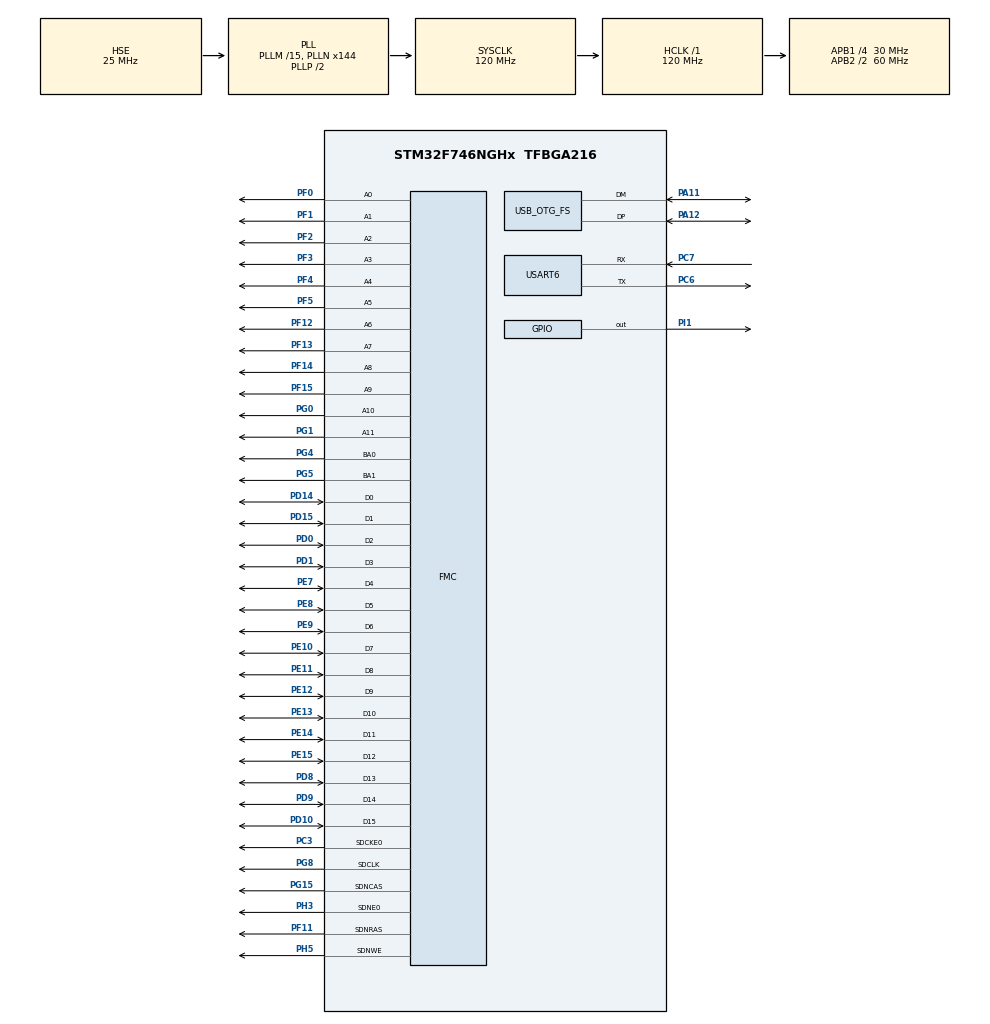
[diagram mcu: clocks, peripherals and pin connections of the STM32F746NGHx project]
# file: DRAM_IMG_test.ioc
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FMC.CASLatency1=FMC_SDRAM_CAS_LATENCY_2
FMC.ExitSelfRefreshDelay1=8
FMC.LoadToActiveDelay1=2
FMC.RCDDelay1=2
FMC.RPDelay1=2
FMC.RPDelay2=2
FMC.ReadBurst1=FMC_SDRAM_RBURST_ENABLE
FMC.ReadBurst2=FMC_SDRAM_RBURST_ENABLE
FMC.ReadPipeDelay1=FMC_SDRAM_RPIPE_DELAY_1
FMC.ReadPipeDelay2=FMC_SDRAM_RPIPE_DELAY_1
FMC.RowCycleDelay1=7
FMC.RowCycleDelay2=7
FMC.SDClockPeriod1=FMC_SDRAM_CLOCK_PERIOD_2
FMC.SDClockPeriod2=FMC_SDRAM_CLOCK_PERIOD_2
FMC.SelfRefreshTime1=6
FMC.WriteRecoveryTime1=12
FREERTOS.Tasks01=defaultTask,24,256,StartDefaultTask,Default,NULL,Dynamic,NULL,NULL
FREERTOS.configTOTAL_HEAP_SIZE=50*1024
FREERTOS.configUSE_NEWLIB_REENTRANT=1
Mcu.Family=STM32F7
Mcu.Name=STM32F746NGHx
Mcu.Package=TFBGA216
NVIC.OTG_FS_IRQn=true\:5\:0\:false\:false\:true\:true\:false\:true\:true
NVIC.PriorityGroup=NVIC_PRIORITYGROUP_4
NVIC.USART6_IRQn=true\:5\:0\:false\:false\:true\:true\:true\:true\:true
PA11.Mode=Device_Only
PA11.Signal=USB_OTG_FS_DM
PA12.Mode=Device_Only
PA12.Signal=USB_OTG_FS_DP
PA13.Mode=Serial_Wire
PA13.Signal=SYS_JTMS-SWDIO
PA14.Mode=Serial_Wire
PA14.Signal=SYS_JTCK-SWCLK
PC2.Signal=USB_OTG_HS_ULPI_DIR
PC3.Mode=SdramChipSelect1_1
PC3.Signal=FMC_SDCKE0
PC6.Mode=Asynchronous
PC6.Signal=USART6_TX
PC7.Mode=Asynchronous
PC7.Signal=USART6_RX
PD0.Signal=FMC_D2_DA2
PD1.Signal=FMC_D3_DA3
PD10.Signal=FMC_D15_DA15
PD14.Signal=FMC_D0_DA0
PD15.Signal=FMC_D1_DA1
PD8.Signal=FMC_D13_DA13
PD9.Signal=FMC_D14_DA14
PE10.Signal=FMC_D7_DA7
PE11.Signal=FMC_D8_DA8
PE12.Signal=FMC_D9_DA9
PE13.Signal=FMC_D10_DA10
PE14.Signal=FMC_D11_DA11
PE15.Signal=FMC_D12_DA12
PE7.Signal=FMC_D4_DA4
PE8.Signal=FMC_D5_DA5
PE9.Signal=FMC_D6_DA6
PF0.Signal=FMC_A0
PF1.Signal=FMC_A1
PF11.Signal=FMC_SDNRAS
PF12.Signal=FMC_A6
PF13.Signal=FMC_A7
PF14.Signal=FMC_A8
PF15.Signal=FMC_A9
PF2.Signal=FMC_A2
PF3.Signal=FMC_A3
PF4.Signal=FMC_A4
PF5.Signal=FMC_A5
PG0.Signal=FMC_A10
PG1.Signal=FMC_A11
PG15.Signal=FMC_SDNCAS
PG4.Signal=FMC_A14_BA0
PG5.Signal=FMC_A15_BA1
PG8.Signal=FMC_SDCLK
PH0/OSC_IN.Mode=HSE-External-Oscillator
PH0/OSC_IN.Signal=RCC_OSC_IN
PH1/OSC_OUT.Mode=HSE-External-Oscillator
PH1/OSC_OUT.Signal=RCC_OSC_OUT
PH3.Mode=SdramChipSelect1_1
PH3.Signal=FMC_SDNE0
PH5.Signal=FMC_SDNWE
PI1.Signal=GPIO_Output
ProjectManager.HeapSize=0x200
ProjectManager.StackSize=0x400
ProjectManager.TargetToolchain=STM32CubeIDE
RCC.AHBFreq_Value=120000000
RCC.APB1CLKDivider=RCC_HCLK_DIV4
RCC.APB1Freq_Value=30000000
RCC.APB1TimFreq_Value=60000000
RCC.APB2CLKDivider=RCC_HCLK_DIV2
RCC.APB2Freq_Value=60000000
RCC.APB2TimFreq_Value=120000000
RCC.CortexFreq_Value=120000000
RCC.HCLKFreq_Value=120000000
RCC.HSE_VALUE=25000000
RCC.HSI_VALUE=16000000
RCC.LSE_VALUE=32768
RCC.PLLM=15
RCC.PLLN=144
RCC.PLLQ=5
RCC.SYSCLKFreq_VALUE=120000000
RCC.SYSCLKSource=RCC_SYSCLKSOURCE_PLLCLK
RCC.USBFreq_Value=48000000
RCC.VCOOutputFreq_Value=240000000
SH.FMC_A0.0=FMC_A0,12b-sda1
SH.FMC_A1.0=FMC_A1,12b-sda1
SH.FMC_A10.0=FMC_A10,12b-sda1
SH.FMC_A11.0=FMC_A11,12b-sda1
SH.FMC_A14_BA0.0=FMC_BA0,FourSdramBanks1
SH.FMC_A15_BA1.0=FMC_BA1,FourSdramBanks1
SH.FMC_A2.0=FMC_A2,12b-sda1
SH.FMC_A3.0=FMC_A3,12b-sda1
SH.FMC_A4.0=FMC_A4,12b-sda1
SH.FMC_A5.0=FMC_A5,12b-sda1
SH.FMC_A6.0=FMC_A6,12b-sda1
SH.FMC_A7.0=FMC_A7,12b-sda1
SH.FMC_A8.0=FMC_A8,12b-sda1
SH.FMC_A9.0=FMC_A9,12b-sda1
SH.FMC_D0_DA0.0=FMC_D0,sd-16b-d1
SH.FMC_D10_DA10.0=FMC_D10,sd-16b-d1
SH.FMC_D11_DA11.0=FMC_D11,sd-16b-d1
SH.FMC_D12_DA12.0=FMC_D12,sd-16b-d1
SH.FMC_D13_DA13.0=FMC_D13,sd-16b-d1
SH.FMC_D14_DA14.0=FMC_D14,sd-16b-d1
SH.FMC_D15_DA15.0=FMC_D15,sd-16b-d1
SH.FMC_D1_DA1.0=FMC_D1,sd-16b-d1
SH.FMC_D2_DA2.0=FMC_D2,sd-16b-d1
SH.FMC_D3_DA3.0=FMC_D3,sd-16b-d1
SH.FMC_D4_DA4.0=FMC_D4,sd-16b-d1
SH.FMC_D5_DA5.0=FMC_D5,sd-16b-d1
SH.FMC_D6_DA6.0=FMC_D6,sd-16b-d1
SH.FMC_D7_DA7.0=FMC_D7,sd-16b-d1
SH.FMC_D8_DA8.0=FMC_D8,sd-16b-d1
SH.FMC_D9_DA9.0=FMC_D9,sd-16b-d1
SH.FMC_SDCLK.0=FMC_SDCLK,12b-sda1
SH.FMC_SDNCAS.0=FMC_SDNCAS,12b-sda1
SH.FMC_SDNRAS.0=FMC_SDNRAS,12b-sda1
SH.FMC_SDNWE.0=FMC_SDNWE,12b-sda1
TIM3.Prescaler=9999
USART6.VirtualMode-Asynchronous=VM_ASYNC
USB_DEVICE.CLASS_NAME_FS=CDC
USB_DEVICE.VirtualMode-CDC_FS=Cdc
USB_DEVICE.VirtualModeFS=Cdc_FS
USB_OTG_FS.VirtualMode=Device_Only
VP_CRC_VS_CRC.Mode=CRC_Activate
VP_FREERTOS_VS_CMSIS_V2.Mode=CMSIS_V2
VP_TIM3_VS_ClockSourceINT.Mode=Internal
VP_USB_DEVICE_VS_USB_DEVICE_CDC_FS.Mode=CDC_FS
board=custom

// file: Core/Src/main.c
/* USER CODE BEGIN Header */
/**
  ******************************************************************************
  * @file           : main.c
  * @brief          : Main program body
  ******************************************************************************
  * @attention
  *
  * Copyright (c) 2025 STMicroelectronics.
  * All rights reserved.
  *
  * This software is licensed under terms that can be found in the LICENSE file
  * in the root directory of this software component.
  * If no LICENSE file comes with this software, it is provided AS-IS.
  *
  ******************************************************************************
  */
/* USER CODE END Header */
#include "main.h"
#include "cmsis_os.h"
#include "usb_device.h"

/* USER CODE BEGIN Includes */
#include <string.h>
//#include "usb_receive.h"
#include "stm32746g_discovery_sdram.h"
#include "debug_logger.h"
#include "queuex.h"
#include "counter_timer.h"

/*****Test*****/
#include "test_usb_transfer_file.h"

/*************/

/* USER CODE END Includes */

CRC_HandleTypeDef hcrc;

TIM_HandleTypeDef htim3;

SDRAM_HandleTypeDef hsdram1;

/* Definitions for defaultTask */
osThreadId_t defaultTaskHandle;
const osThreadAttr_t defaultTask_attributes = {
  .name = "defaultTask",
  .stack_size = 256 * 4,
  .priority = (osPriority_t) osPriorityNormal,
};
/* USER CODE BEGIN PV */
//#define SDRAM_ADD 0xC0000000

/* USER CODE END PV */

void SystemClock_Config(void);
static void MX_GPIO_Init(void);
static void MX_FMC_Init(void);
static void MX_TIM3_Init(void);
static void MX_USART6_UART_Init(void);
static void MX_CRC_Init(void);
void StartDefaultTask(void *argument);

/* USER CODE BEGIN PFP */

/**************Task*******************/
void TaskBlinkLED(void *pvParameters);
void Debuglogging(void *pvParameters);

/* USER CODE END PFP */

/* USER CODE BEGIN 0 */
__attribute__((section(".sdram"))) uint8_t file_buffer[8*1024*1024];
uint8_t command_buffer[64];
Queuex_t usb_rx_cmd_queue;
Queuex_t usb_rx_file_queue;

/* USER CODE END 0 */

int main(void)
{

  /* MCU Configuration--------------------------------------------------------*/

  /* Reset of all peripherals, Initializes the Flash interface and the Systick. */
  HAL_Init();

  /* Configure the system clock */
  SystemClock_Config();

  /* Initialize all configured peripherals */
  MX_GPIO_Init();
  MX_FMC_Init();
  MX_TIM3_Init();
  MX_USART6_UART_Init();
  MX_CRC_Init();
  /* USER CODE BEGIN 2 */

  Queue_Init(&usb_rx_cmd_queue, command_buffer, sizeof(command_buffer));
  Queue_Init(&usb_rx_file_queue, file_buffer, sizeof(file_buffer));

  MX_USB_DEVICE_Init();

  HAL_TIM_Base_Start(&htim3);
//  command_buffer[0] = 0;
  /* USER CODE END 2 */

  /* Init scheduler */
  osKernelInitialize();

  /* Create the thread(s) */
  /* creation of defaultTask */
//  defaultTaskHandle = osThreadNew(StartDefaultTask, NULL, &defaultTask_attributes);

  /* USER CODE BEGIN RTOS_THREADS */
  /* add threads, ... */

  //Init
//  Chunk_Init();
//  File_Init();

  xTaskCreate(TaskBlinkLED, "BlinkTask", 256, NULL, osPriorityNormal + 1, NULL);
  xTaskCreate(Task_Command, "Command", 512, NULL, 4, &hTaskCommand);
//  Transmit_Init(0);
  xTaskCreate(TaskSendImage, "TaskSendImage", 1024, NULL, 2, &hTaskSend);
  xTaskCreate(Task_Receive, "Receive", 1024*5, NULL, 3, &hTaskReceive);   //có thể  giảm

//  xTaskCreate(Debuglogging, "Debuglogging", 128, NULL, osPriorityIdle + 1, NULL);

  /* USER CODE END RTOS_THREADS */

  /* Start scheduler */
  osKernelStart();

  /* We should never get here as control is now taken by the scheduler */

  /* Infinite loop */
  while (1)
  {

  }
}

void SystemClock_Config(void)
{
  RCC_OscInitTypeDef RCC_OscInitStruct = {0};
  RCC_ClkInitTypeDef RCC_ClkInitStruct = {0};

  /** Configure the main internal regulator output voltage
  */
  __HAL_RCC_PWR_CLK_ENABLE();
  __HAL_PWR_VOLTAGESCALING_CONFIG(PWR_REGULATOR_VOLTAGE_SCALE3);

  /** Initializes the RCC Oscillators according to the specified parameters
  * in the RCC_OscInitTypeDef structure.
  */
  RCC_OscInitStruct.OscillatorType = RCC_OSCILLATORTYPE_HSE;
  RCC_OscInitStruct.HSEState = RCC_HSE_ON;
  RCC_OscInitStruct.PLL.PLLState = RCC_PLL_ON;
  RCC_OscInitStruct.PLL.PLLSource = RCC_PLLSOURCE_HSE;
  RCC_OscInitStruct.PLL.PLLM = 15;
  RCC_OscInitStruct.PLL.PLLN = 144;
  RCC_OscInitStruct.PLL.PLLP = RCC_PLLP_DIV2;
  RCC_OscInitStruct.PLL.PLLQ = 5;
  if (HAL_RCC_OscConfig(&RCC_OscInitStruct) != HAL_OK)
  {
    Error_Handler();
  }

  /** Initializes the CPU, AHB and APB buses clocks
  */
  RCC_ClkInitStruct.ClockType = RCC_CLOCKTYPE_HCLK|RCC_CLOCKTYPE_SYSCLK
                              |RCC_CLOCKTYPE_PCLK1|RCC_CLOCKTYPE_PCLK2;
  RCC_ClkInitStruct.SYSCLKSource = RCC_SYSCLKSOURCE_PLLCLK;
  RCC_ClkInitStruct.AHBCLKDivider = RCC_SYSCLK_DIV1;
  RCC_ClkInitStruct.APB1CLKDivider = RCC_HCLK_DIV4;
  RCC_ClkInitStruct.APB2CLKDivider = RCC_HCLK_DIV2;

  if (HAL_RCC_ClockConfig(&RCC_ClkInitStruct, FLASH_LATENCY_3) != HAL_OK)
  {
    Error_Handler();
  }
}

static void MX_CRC_Init(void)
{

  hcrc.Instance = CRC;
  hcrc.Init.DefaultPolynomialUse = DEFAULT_POLYNOMIAL_ENABLE;
  hcrc.Init.DefaultInitValueUse = DEFAULT_INIT_VALUE_ENABLE;
  hcrc.Init.InputDataInversionMode = CRC_INPUTDATA_INVERSION_NONE;
  hcrc.Init.OutputDataInversionMode = CRC_OUTPUTDATA_INVERSION_DISABLE;
  hcrc.InputDataFormat = CRC_INPUTDATA_FORMAT_BYTES;
  if (HAL_CRC_Init(&hcrc) != HAL_OK)
  {
    Error_Handler();
  }

}

static void MX_TIM3_Init(void)
{

  TIM_ClockConfigTypeDef sClockSourceConfig = {0};
  TIM_MasterConfigTypeDef sMasterConfig = {0};

  htim3.Instance = TIM3;
  htim3.Init.Prescaler = 9999;
  htim3.Init.CounterMode = TIM_COUNTERMODE_UP;
  htim3.Init.Period = 65535;
  htim3.Init.ClockDivision = TIM_CLOCKDIVISION_DIV1;
  htim3.Init.AutoReloadPreload = TIM_AUTORELOAD_PRELOAD_DISABLE;
  if (HAL_TIM_Base_Init(&htim3) != HAL_OK)
  {
    Error_Handler();
  }
  sClockSourceConfig.ClockSource = TIM_CLOCKSOURCE_INTERNAL;
  if (HAL_TIM_ConfigClockSource(&htim3, &sClockSourceConfig) != HAL_OK)
  {
    Error_Handler();
  }
  sMasterConfig.MasterOutputTrigger = TIM_TRGO_RESET;
  sMasterConfig.MasterSlaveMode = TIM_MASTERSLAVEMODE_DISABLE;
  if (HAL_TIMEx_MasterConfigSynchronization(&htim3, &sMasterConfig) != HAL_OK)
  {
    Error_Handler();
  }

}

static void MX_USART6_UART_Init(void)
{

  LL_USART_InitTypeDef USART_InitStruct = {0};

  LL_GPIO_InitTypeDef GPIO_InitStruct = {0};
  RCC_PeriphCLKInitTypeDef PeriphClkInitStruct = {0};

  /** Initializes the peripherals clock
  */
  PeriphClkInitStruct.PeriphClockSelection = RCC_PERIPHCLK_USART6;
  PeriphClkInitStruct.Usart6ClockSelection = RCC_USART6CLKSOURCE_PCLK2;
  if (HAL_RCCEx_PeriphCLKConfig(&PeriphClkInitStruct) != HAL_OK)
  {
    Error_Handler();
  }

  /* Peripheral clock enable */
  LL_APB2_GRP1_EnableClock(LL_APB2_GRP1_PERIPH_USART6);

  LL_AHB1_GRP1_EnableClock(LL_AHB1_GRP1_PERIPH_GPIOC);
  /**USART6 GPIO Configuration
  PC7   ------> USART6_RX
  PC6   ------> USART6_TX
  */
  GPIO_InitStruct.Pin = LL_GPIO_PIN_7;
  GPIO_InitStruct.Mode = LL_GPIO_MODE_ALTERNATE;
  GPIO_InitStruct.Speed = LL_GPIO_SPEED_FREQ_VERY_HIGH;
  GPIO_InitStruct.OutputType = LL_GPIO_OUTPUT_PUSHPULL;
  GPIO_InitStruct.Pull = LL_GPIO_PULL_NO;
  GPIO_InitStruct.Alternate = LL_GPIO_AF_8;
  LL_GPIO_Init(GPIOC, &GPIO_InitStruct);

  GPIO_InitStruct.Pin = LL_GPIO_PIN_6;
  GPIO_InitStruct.Mode = LL_GPIO_MODE_ALTERNATE;
  GPIO_InitStruct.Speed = LL_GPIO_SPEED_FREQ_VERY_HIGH;
  GPIO_InitStruct.OutputType = LL_GPIO_OUTPUT_PUSHPULL;
  GPIO_InitStruct.Pull = LL_GPIO_PULL_NO;
  GPIO_InitStruct.Alternate = LL_GPIO_AF_8;
  LL_GPIO_Init(GPIOC, &GPIO_InitStruct);

  /* USART6 interrupt Init */
  NVIC_SetPriority(USART6_IRQn, NVIC_EncodePriority(NVIC_GetPriorityGrouping(),5, 0));
  NVIC_EnableIRQ(USART6_IRQn);

  USART_InitStruct.BaudRate = 115200;
  USART_InitStruct.DataWidth = LL_USART_DATAWIDTH_8B;
  USART_InitStruct.StopBits = LL_USART_STOPBITS_1;
  USART_InitStruct.Parity = LL_USART_PARITY_NONE;
  USART_InitStruct.TransferDirection = LL_USART_DIRECTION_TX_RX;
  USART_InitStruct.HardwareFlowControl = LL_USART_HWCONTROL_NONE;
  USART_InitStruct.OverSampling = LL_USART_OVERSAMPLING_16;
  LL_USART_Init(USART6, &USART_InitStruct);
  LL_USART_ConfigAsyncMode(USART6);
  LL_USART_Enable(USART6);

}

/* FMC initialization function */
static void MX_FMC_Init(void)
{

  /* USER CODE BEGIN FMC_Init 0 */
	const uint32_t RefreshCount = 0x0603; // tại 100MHz
  /* USER CODE END FMC_Init 0 */

  FMC_SDRAM_TimingTypeDef SdramTiming = {0};

  /** Perform the SDRAM1 memory initialization sequence
  */
  hsdram1.Instance = FMC_SDRAM_DEVICE;
  /* hsdram1.Init */
  hsdram1.Init.SDBank = FMC_SDRAM_BANK1;
  hsdram1.Init.ColumnBitsNumber = FMC_SDRAM_COLUMN_BITS_NUM_8;
  hsdram1.Init.RowBitsNumber = FMC_SDRAM_ROW_BITS_NUM_12;
  hsdram1.Init.MemoryDataWidth = FMC_SDRAM_MEM_BUS_WIDTH_16;
  hsdram1.Init.InternalBankNumber = FMC_SDRAM_INTERN_BANKS_NUM_4;
  hsdram1.Init.CASLatency = FMC_SDRAM_CAS_LATENCY_2;
  hsdram1.Init.WriteProtection = FMC_SDRAM_WRITE_PROTECTION_DISABLE;
  hsdram1.Init.SDClockPeriod = FMC_SDRAM_CLOCK_PERIOD_2;
  hsdram1.Init.ReadBurst = FMC_SDRAM_RBURST_ENABLE;
  hsdram1.Init.ReadPipeDelay = FMC_SDRAM_RPIPE_DELAY_1;
  /* SdramTiming */
  SdramTiming.LoadToActiveDelay = 2;
  SdramTiming.ExitSelfRefreshDelay = 8;
  SdramTiming.SelfRefreshTime = 6;
  SdramTiming.RowCycleDelay = 7;
  SdramTiming.WriteRecoveryTime = 12;
  SdramTiming.RPDelay = 2;
  SdramTiming.RCDDelay = 2;

  if (HAL_SDRAM_Init(&hsdram1, &SdramTiming) != HAL_OK)
  {
    Error_Handler( );
  }

  /* USER CODE BEGIN FMC_Init 2 */

  FMC_SDRAM_CommandTypeDef Command = {0};
  __IO uint32_t tmpmrd = 0;

  /* Khởi tạo SDRAM */
  __HAL_RCC_FMC_CLK_ENABLE();

  Command.CommandMode = FMC_SDRAM_CMD_CLK_ENABLE;
  Command.CommandTarget = FMC_SDRAM_CMD_TARGET_BANK1;
  Command.AutoRefreshNumber = 1;
  Command.ModeRegisterDefinition = 0;
  HAL_SDRAM_SendCommand(&hsdram1, &Command, SDRAM_TIMEOUT);
  HAL_Delay(1); // Delay 1ms (tối thiểu 100µs)

  Command.CommandMode = FMC_SDRAM_CMD_PALL;
  Command.CommandTarget = FMC_SDRAM_CMD_TARGET_BANK1;
  Command.AutoRefreshNumber = 1;
  Command.ModeRegisterDefinition = 0;
  HAL_SDRAM_SendCommand(&hsdram1, &Command, 0xFFFF);
  HAL_Delay(1); // Đợi một thời gian ngắn

  Command.CommandMode            = FMC_SDRAM_CMD_AUTOREFRESH_MODE;
  Command.CommandTarget          = FMC_SDRAM_CMD_TARGET_BANK1;
  Command.AutoRefreshNumber      = 8;
  Command.ModeRegisterDefinition = 0;
  HAL_SDRAM_SendCommand(&hsdram1, &Command, SDRAM_TIMEOUT);

  // Bước 4: Gửi lệnh Mode Register Set (MRS)
  /* Step 5: Program the external memory mode register */
  tmpmrd = (uint32_t)SDRAM_MODEREG_BURST_LENGTH_1          |\
                     SDRAM_MODEREG_BURST_TYPE_SEQUENTIAL   |\
                     SDRAM_MODEREG_CAS_LATENCY_2           |\
                     SDRAM_MODEREG_OPERATING_MODE_STANDARD |\
                     SDRAM_MODEREG_WRITEBURST_MODE_SINGLE;

  Command.CommandMode            = FMC_SDRAM_CMD_LOAD_MODE;
  Command.CommandTarget          = FMC_SDRAM_CMD_TARGET_BANK1;
  Command.AutoRefreshNumber      = 1;
  Command.ModeRegisterDefinition = tmpmrd;

  /* Send the command */
  HAL_SDRAM_SendCommand(&hsdram1, &Command, SDRAM_TIMEOUT);

  // Bước 5: Cấu hình tần số refresh
  HAL_SDRAM_ProgramRefreshRate(&hsdram1, RefreshCount);

  /* USER CODE END FMC_Init 2 */
}

static void MX_GPIO_Init(void)
{
  GPIO_InitTypeDef GPIO_InitStruct = {0};

  /* GPIO Ports Clock Enable */
  __HAL_RCC_GPIOA_CLK_ENABLE();
  __HAL_RCC_GPIOG_CLK_ENABLE();
  __HAL_RCC_GPIOD_CLK_ENABLE();
  __HAL_RCC_GPIOF_CLK_ENABLE();
  __HAL_RCC_GPIOI_CLK_ENABLE();
  __HAL_RCC_GPIOH_CLK_ENABLE();
  __HAL_RCC_GPIOC_CLK_ENABLE();
  __HAL_RCC_GPIOE_CLK_ENABLE();

  /*Configure GPIO pin Output Level */
  HAL_GPIO_WritePin(GPIOI, GPIO_PIN_1, GPIO_PIN_RESET);

  /*Configure GPIO pin : PI1 */
  GPIO_InitStruct.Pin = GPIO_PIN_1;
  GPIO_InitStruct.Mode = GPIO_MODE_OUTPUT_PP;
  GPIO_InitStruct.Pull = GPIO_NOPULL;
  GPIO_InitStruct.Speed = GPIO_SPEED_FREQ_LOW;
  HAL_GPIO_Init(GPIOI, &GPIO_InitStruct);

  /*Configure GPIO pin : PC2 */
  GPIO_InitStruct.Pin = GPIO_PIN_2;
  GPIO_InitStruct.Mode = GPIO_MODE_AF_PP;
  GPIO_InitStruct.Pull = GPIO_NOPULL;
  GPIO_InitStruct.Speed = GPIO_SPEED_FREQ_VERY_HIGH;
  GPIO_InitStruct.Alternate = GPIO_AF10_OTG_HS;
  HAL_GPIO_Init(GPIOC, &GPIO_InitStruct);

}

/* USER CODE BEGIN 4 */

void TaskBlinkLED(void *pvParameters)
{
    while (1)
    {
//    	Timer_Start_Counter();
    	HAL_GPIO_TogglePin(GPIOI, GPIO_PIN_1);
//    	uart_ring_buffer_put("LED Toggle\n", 11);
        vTaskDelay(pdMS_TO_TICKS(500));
//        Timer_End_Counter();
//        Timer_Get_Duration();
    }
}

void Debuglogging(void *pvParameters)
{
	uart_debug_init();
	while(1)
	{
		task_debug_logging();
		vTaskDelay(50);
	}
}

void vApplicationStackOverflowHook (TaskHandle_t xTask, signed char *pcTaskName)
{

}

/* USER CODE END 4 */

void StartDefaultTask(void *argument)
{
  /* init code for USB_DEVICE */
  MX_USB_DEVICE_Init();
}

void Error_Handler(void)
{
  __disable_irq();
  while (1)
  {
  }
}
